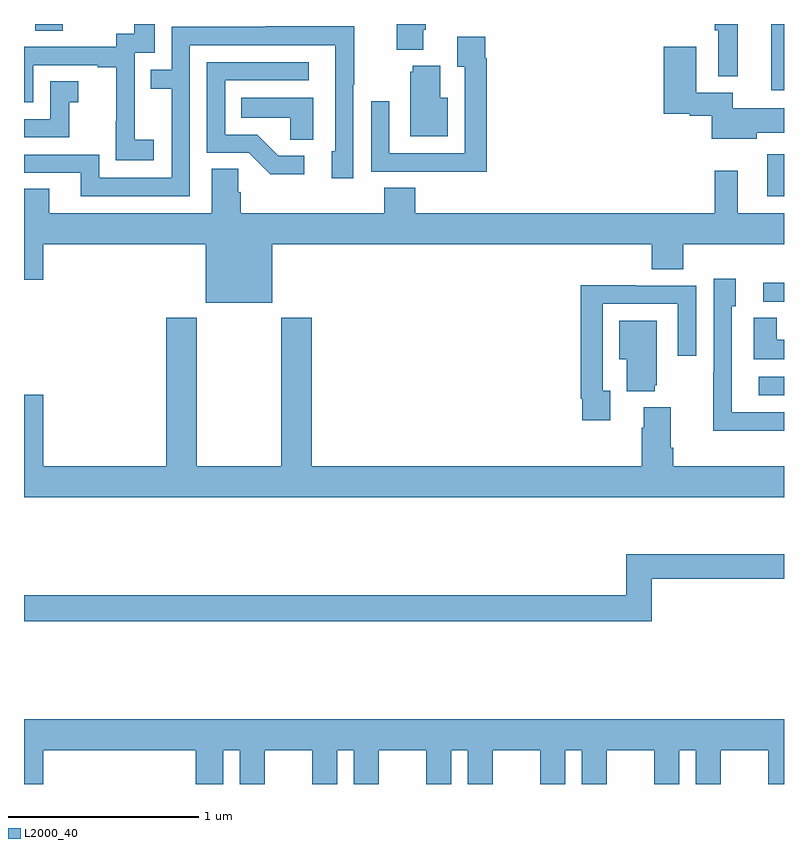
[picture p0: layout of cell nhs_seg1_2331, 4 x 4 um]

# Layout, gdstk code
import gdstk
lib = gdstk.Library(unit=1e-6, precision=1e-09)
def R(c, l, rs):  # rectangles x0, y0, x1, y1
    for r in rs: c.add(gdstk.rectangle(r[:2], r[2:], *l))
def P(c, l, *ps):  # polygons
    for p in ps: c.add(gdstk.Polygon(p, *l))
L2000_40 = (2000, 40)

nhs_seg1_2331 = lib.new_cell('nhs_seg1_2331')
R(nhs_seg1_2331, L2000_40, [(240.867,576.246,241,576.342), (240.891,576.738,241,576.836), (240.911,577.293,241,577.513), (240.932,577.85,241,578.199), (237.058,578.164,237.205,578.199)])
P(nhs_seg1_2331, L2000_40, [(240.757,578.199),(240.636,578.199),(240.636,578.167),(240.653,578.167),(240.653,577.923),(240.757,577.923)],
  [(238.961,578.063),(239.101,578.063),(239.101,578.17),(239.114,578.17),(239.114,578.199),(238.961,578.199)],
  [(237.682,577.591),(237.584,577.591),(237.584,577.82),(237.582,577.82),(237.582,578.049),(237.687,578.049),(237.687,578.199),(237.579,578.199),(237.579,578.148),(237.486,578.148),(237.486,578.079),(237,578.079),(237,577.788),(237.048,577.788),(237.048,577.983),(237.389,577.983),(237.389,577.971),(237.485,577.971),(237.485,577.687),(237.484,577.687),(237.484,577.481),(237.682,577.481)],
  [(237.873,578.088),(238.638,578.088),(238.638,577.53),(238.619,577.53),(238.619,577.386),(238.734,577.386),(238.734,577.879),(238.737,577.879),(238.737,578.186),(238.273,578.186),(238.273,578.184),(237.777,578.184),(237.777,577.959),(237.667,577.959),(237.667,577.858),(237.777,577.858),(237.777,577.389),(237.396,577.389),(237.396,577.512),(237,577.512),(237,577.416),(237.299,577.416),(237.299,577.293),(237.873,577.293)],
  [(239.435,578.018),(239.428,578.018),(239.428,578.131),(239.279,578.131),(239.279,577.975),(239.319,577.975),(239.319,577.518),(238.923,577.518),(238.923,577.792),(238.827,577.792),(238.827,577.422),(239.143,577.422),(239.143,577.421),(239.435,577.421)],
  [(240.856,577.627),(241,577.627),(241,577.756),(240.73,577.756),(240.73,577.837),(240.538,577.837),(240.538,578.08),(240.368,578.08),(240.368,577.727),(240.504,577.727),(240.504,577.715),(240.62,577.715),(240.62,577.595),(240.856,577.595)],
  [(238.474,577.506),(238.339,577.506),(238.228,577.617),(238.059,577.617),(238.059,577.902),(238.498,577.902),(238.498,577.998),(237.963,577.998),(237.963,577.521),(238.182,577.521),(238.295,577.409),(238.474,577.409)],
  [(239.23,577.81),(239.191,577.81),(239.191,577.978),(239.045,577.978),(239.045,577.947),(239.033,577.947),(239.033,577.607),(239.23,577.607)],
  [(237.237,577.787),(237.286,577.787),(237.286,577.897),(237.138,577.897),(237.138,577.698),(237,577.698),(237,577.602),(237.237,577.602)],
  [(238.522,577.81),(238.144,577.81),(238.144,577.706),(238.401,577.706),(238.401,577.591),(238.522,577.591)],
  [(238.306,577.04),(240.305,577.04),(240.305,576.907),(240.47,576.907),(240.47,577.04),(241,577.04),(241,577.204),(240.757,577.204),(240.757,577.426),(240.636,577.426),(240.636,577.204),(239.06,577.204),(239.06,577.337),(238.895,577.337),(238.895,577.204),(238.142,577.204),(238.142,577.313),(238.128,577.313),(238.128,577.436),(237.989,577.436),(237.989,577.204),(237.133,577.204),(237.133,577.331),(237,577.331),(237,576.852),(237.1,576.852),(237.1,577.04),(237.956,577.04),(237.956,576.731),(238.306,576.731)],
  [(241,576.156),(240.726,576.156),(240.726,576.714),(240.745,576.714),(240.745,576.859),(240.63,576.859),(240.63,576.365),(240.628,576.365),(240.628,576.059),(241,576.059)],
  [(240.085,576.27),(240.045,576.27),(240.045,576.726),(240.441,576.726),(240.441,576.453),(240.537,576.453),(240.537,576.822),(240.221,576.822),(240.221,576.824),(239.929,576.824),(239.929,576.226),(239.937,576.226),(239.937,576.114),(240.085,576.114)],
  [(241,576.538),(240.963,576.538),(240.963,576.653),(240.842,576.653),(240.842,576.434),(241,576.434)],
  [(241,575.872),(240.416,575.872),(240.416,575.968),(240.403,575.968),(240.403,576.181),(240.263,576.181),(240.263,576.074),(240.251,576.074),(240.251,575.872),(238.514,575.872),(238.514,576.652),(238.354,576.652),(238.354,575.872),(237.909,575.872),(237.909,576.652),(237.749,576.652),(237.749,575.872),(237.1,575.872),(237.1,576.247),(237,576.247),(237,575.708),(241,575.708)],
  [(240.32,576.297),(240.331,576.297),(240.331,576.637),(240.134,576.637),(240.134,576.434),(240.173,576.434),(240.173,576.266),(240.32,576.266)],
  [(240.305,575.278),(241,575.278),(241,575.407),(240.169,575.407),(240.169,575.192),(237,575.192),(237,575.056),(240.305,575.056)],
  [(237,574.199),(237.1,574.199),(237.1,574.376),(237.905,574.376),(237.905,574.199),(238.048,574.199),(238.048,574.376),(238.136,574.376),(238.136,574.199),(238.267,574.199),(238.267,574.376),(238.517,574.376),(238.517,574.199),(238.648,574.199),(238.648,574.376),(238.736,574.376),(238.736,574.199),(238.867,574.199),(238.867,574.376),(239.117,574.376),(239.117,574.199),(239.248,574.199),(239.248,574.376),(239.336,574.376),(239.336,574.199),(239.467,574.199),(239.467,574.376),(239.717,574.376),(239.717,574.199),(239.848,574.199),(239.848,574.376),(239.936,574.376),(239.936,574.199),(240.067,574.199),(240.067,574.376),(240.317,574.376),(240.317,574.199),(240.448,574.199),(240.448,574.376),(240.536,574.376),(240.536,574.199),(240.667,574.199),(240.667,574.376),(240.917,574.376),(240.917,574.199),(241,574.199),(241,574.54),(237,574.54)])

lib.write_gds('nhs_seg1_2331.gds')
